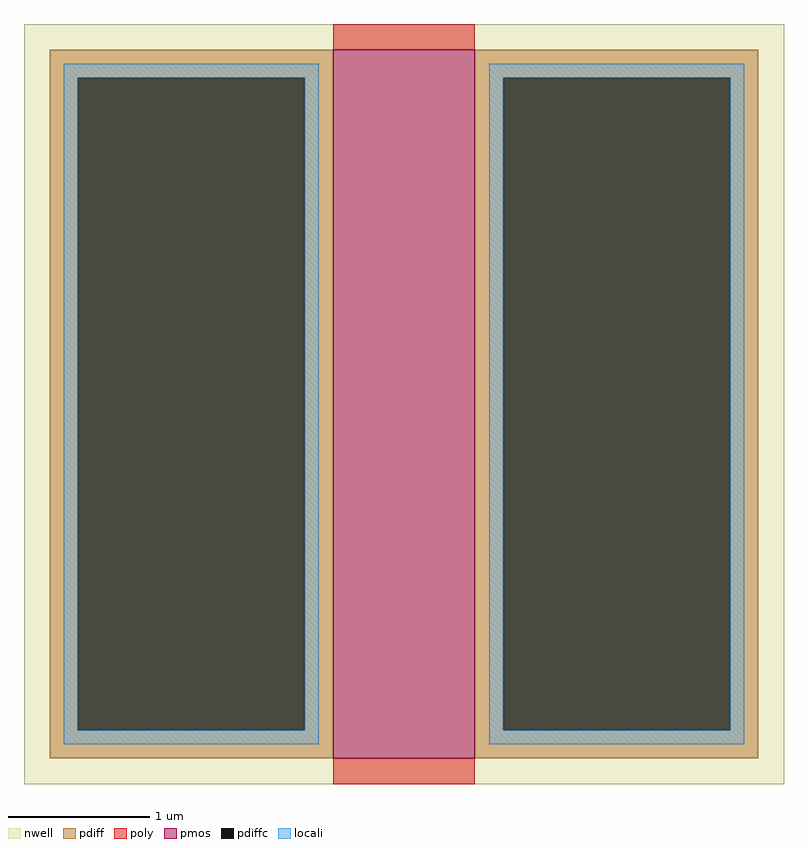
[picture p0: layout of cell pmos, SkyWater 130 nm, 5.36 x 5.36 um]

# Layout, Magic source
magic
tech sky130A
<< nwell >>
rect -18 -518 518 18
<< pmos >>
rect 200 -500 300 0
<< pdiff >>
rect 0 -20 200 0
rect 0 -480 20 -20
rect 180 -480 200 -20
rect 0 -500 200 -480
rect 300 -20 500 0
rect 300 -480 320 -20
rect 480 -480 500 -20
rect 300 -500 500 -480
<< pdiffc >>
rect 20 -480 180 -20
rect 320 -480 480 -20
<< poly >>
rect 200 0 300 18
rect 200 -518 300 -500
<< locali >>
rect 10 -20 190 -10
rect 10 -480 20 -20
rect 180 -480 190 -20
rect 10 -490 190 -480
rect 310 -20 490 -10
rect 310 -480 320 -20
rect 480 -480 490 -20
rect 310 -490 490 -480
<< end >>
